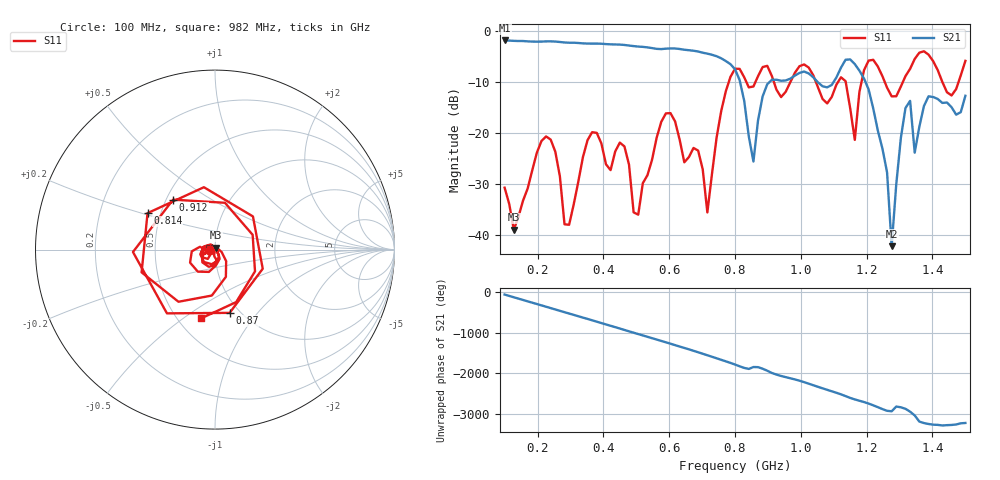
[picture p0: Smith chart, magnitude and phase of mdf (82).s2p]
! NanoVNA-App
! Date: 2025-09-25 15:39:04
! Start: 100MHz Stop: 1,5GHz Points: 101
! S-Parameter data: F S11 S21 S12 S22
# Hz S RI R 50
!  Frequency  S11_Real  S11_Imag  S21_Real  S21_Imag  S12_Real  S12_Imag  S22_Real  S22_Imag
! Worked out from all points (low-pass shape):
!   101 points, 100 MHz to 1.5 GHz, reference 50 ohm
!   highest |S21| = -1.80 dB at 100 MHz (marker M1); lowest = -42.3 dB at 1.276 GHz (marker M2)
!   |S21| within 3 dB of the highest: start of sweep to 739.1 MHz
!   lowest |S11| = -39.0 dB at 128 MHz (marker M3), VSWR 1.02, Z = 50.3 + j1.07 ohm
!   |S11| at or under -10 dB: start of sweep to 781 MHz; 918.3 MHz to 968.2 MHz (49.9 MHz wide, 5.29 % of centre); 1.046 GHz to 1.113 GHz (66.94 MHz wide, 6.2 % of centre)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
!   S12 and S22 are empty: the file has one direction only
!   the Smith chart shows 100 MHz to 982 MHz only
!   S11 on the Smith chart (normalised r, x): 100 MHz: 0.94, -0.01; 814 MHz: 0.42, +0.21; 870 MHz: 0.90, -0.73; 912 MHz: 0.54, +0.35; 982 MHz: 0.65, -0.59
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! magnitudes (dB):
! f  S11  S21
! 100 MHz  -30.8  -1.8
! 128 MHz  -39.0  -1.9
! 212 MHz  -21.6  -2.0
! 282 MHz  -38.0  -2.2
! 338 MHz  -24.7  -2.4
! 464 MHz  -22.6  -2.7
! 506 MHz  -36.1  -3.0
! 576 MHz  -17.8  -3.5
! 716 MHz  -35.6  -4.4
! 800 MHz  -7.4  -7.5
! 814 MHz  -7.4  -9.6
! 856 MHz  -10.9  -25.6
! 870 MHz  -8.8  -17.5
! 912 MHz  -8.8  -9.5
! 982 MHz  -8.2  -8.7
! 1.038 GHz  -8.7  -9.1
! 1.164 GHz  -21.4  -6.5
! 1.192 GHz  -7.7  -9.3
! 1.276 GHz  -12.8  -42.3
! 1.318 GHz  -8.8  -15.1
! 1.346 GHz  -5.4  -23.9
! 1.5 GHz  -5.8  -12.7
